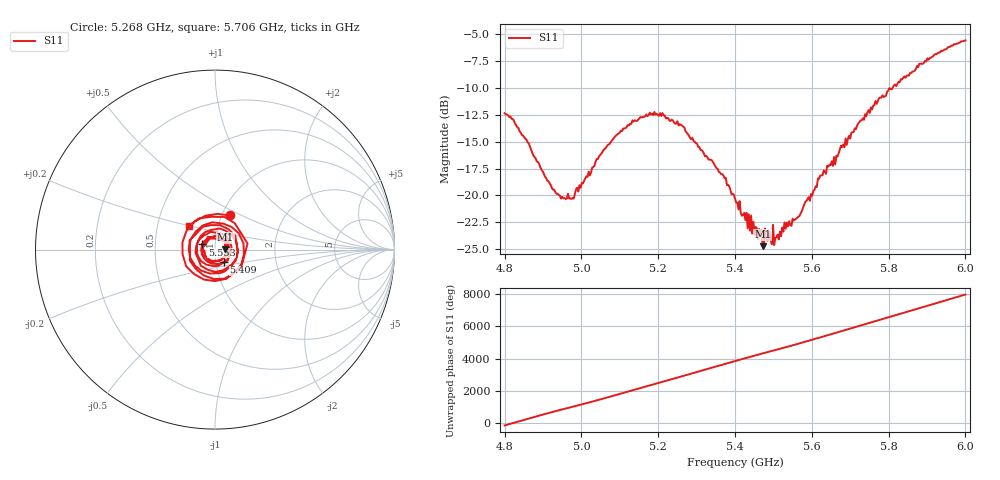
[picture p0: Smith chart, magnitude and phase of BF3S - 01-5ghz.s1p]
! NanoVNA-App
! Date: 2026-05-22 16:31:34
! Start: 4.8GHz Stop: 6GHz Points: 401
! S-Parameter data: F S11
# Hz S RI R 50
!  Frequency  S11_Real  S11_Imag
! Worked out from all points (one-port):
!   401 points, 4.8 GHz to 6 GHz, reference 50 ohm
!   lowest |S11| = -24.7 dB at 5.472 GHz (marker M1), VSWR 1.12, Z = 56.2 + j0.142 ohm
!   |S11| at or under -10 dB: start of sweep to 5.802 GHz; 5.802291 GHz to 5.809842 GHz (7.551 MHz wide, 0.13 % of centre)
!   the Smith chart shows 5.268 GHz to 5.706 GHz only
!   S11 on the Smith chart (normalised r, x): 5.268 GHz: 1.09, +0.43; 5.409 GHz: 1.10, -0.15; 5.553 GHz: 0.87, +0.05; 5.706 GHz: 0.72, +0.20
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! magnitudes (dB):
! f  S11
! 4.8 GHz  -12.3
! 4.821 GHz  -12.9
! 4.917 GHz  -18.9
! 4.95 GHz  -20.1
! 4.977 GHz  -20.3
! 5.052 GHz  -16.1
! 5.1 GHz  -14.1
! 5.184 GHz  -12.4
! 5.25 GHz  -13.1
! 5.268 GHz  -13.7
! 5.37 GHz  -18.2
! 5.4 GHz  -20.3
! 5.409 GHz  -21.3
! 5.439 GHz  -23.3
! 5.472 GHz  -24.7
! 5.508 GHz  -23.9
! 5.529 GHz  -22.5
! 5.55 GHz  -22.2
! 5.553 GHz  -22.3
! 5.601 GHz  -20.0
! 5.622 GHz  -18.1
! 5.661 GHz  -17.1
! 5.7 GHz  -14.7
! 5.706 GHz  -14.1
! 5.778 GHz  -10.9
! 5.85 GHz  -8.8
! 5.925 GHz  -6.8
! 6 GHz  -5.6
